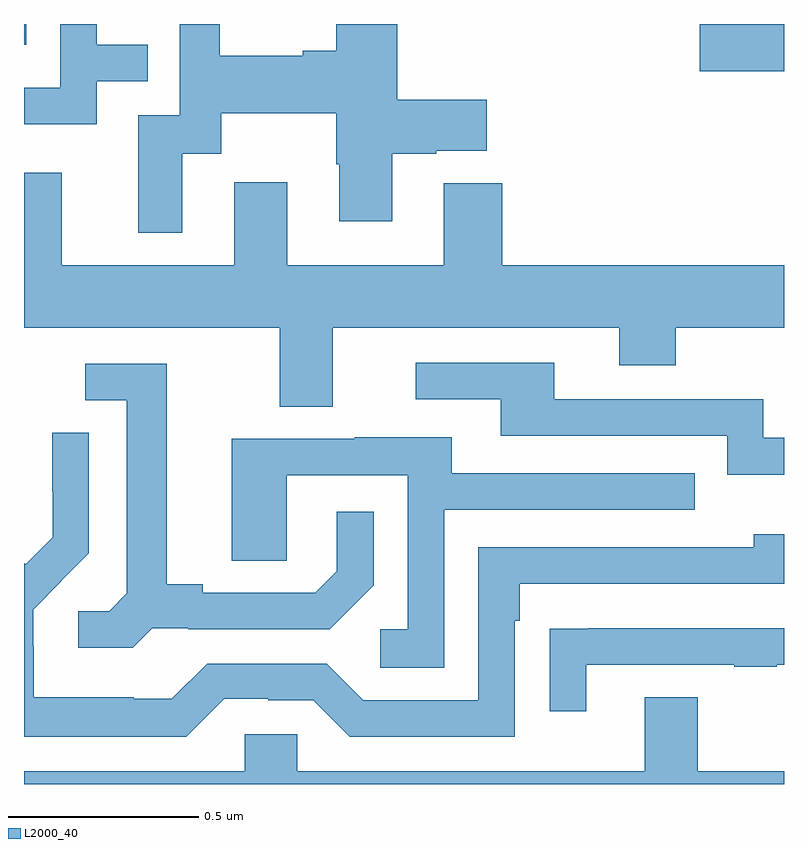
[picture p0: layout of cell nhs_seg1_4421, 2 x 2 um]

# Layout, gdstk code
import gdstk
lib = gdstk.Library(unit=1e-6, precision=1e-09)
def R(c, l, rs):  # rectangles x0, y0, x1, y1
    for r in rs: c.add(gdstk.rectangle(r[:2], r[2:], *l))
def P(c, l, *ps):  # polygons
    for p in ps: c.add(gdstk.Polygon(p, *l))
L2000_40 = (2000, 40)

nhs_seg1_4421 = lib.new_cell('nhs_seg1_4421')
R(nhs_seg1_4421, L2000_40, [(167.778,551.075,168,551.199), (166,551.144,166.006,551.199)])
P(nhs_seg1_4421, L2000_40, [(166.417,550.858),(166.519,550.858),(166.519,550.964),(166.822,550.964),(166.822,550.83),(166.829,550.83),(166.829,550.68),(166.969,550.68),(166.969,550.858),(167.085,550.858),(167.085,550.865),(167.218,550.865),(167.218,551),(166.982,551),(166.982,551.199),(166.822,551.199),(166.822,551.129),(166.733,551.129),(166.733,551.116),(166.515,551.116),(166.515,551.199),(166.41,551.199),(166.41,550.959),(166.301,550.959),(166.301,550.65),(166.417,550.65)],
  [(166.191,551.049),(166.325,551.049),(166.325,551.145),(166.191,551.145),(166.191,551.199),(166.095,551.199),(166.095,551.031),(166,551.031),(166,550.935),(166.191,550.935)],
  [(166.813,550.4),(167.567,550.4),(167.567,550.301),(167.715,550.301),(167.715,550.4),(168,550.4),(168,550.564),(167.258,550.564),(167.258,550.78),(167.105,550.78),(167.105,550.564),(166.693,550.564),(166.693,550.783),(166.553,550.783),(166.553,550.564),(166.099,550.564),(166.099,550.807),(166,550.807),(166,550.4),(166.673,550.4),(166.673,550.192),(166.813,550.192)],
  [(168,550.11),(167.946,550.11),(167.946,550.212),(167.395,550.212),(167.395,550.308),(167.031,550.308),(167.031,550.212),(167.255,550.212),(167.255,550.116),(167.85,550.116),(167.85,550.013),(168,550.013)],
  [(166.338,549.609),(166.432,549.609),(166.432,549.606),(166.804,549.606),(166.92,549.722),(166.92,549.916),(166.823,549.916),(166.823,549.759),(166.766,549.702),(166.471,549.702),(166.471,549.725),(166.375,549.725),(166.375,550.305),(166.161,550.305),(166.161,550.209),(166.271,550.209),(166.271,549.701),(166.224,549.654),(166.143,549.654),(166.143,549.557),(166.286,549.557)],
  [(166.527,549.423),(166.643,549.423),(166.643,549.42),(166.761,549.42),(166.857,549.324),(167.292,549.324),(167.292,549.629),(167.305,549.629),(167.305,549.726),(168,549.726),(168,549.856),(167.921,549.856),(167.921,549.822),(167.196,549.822),(167.196,549.42),(166.893,549.42),(166.797,549.516),(166.482,549.516),(166.389,549.423),(166.289,549.423),(166.289,549.427),(166.026,549.427),(166.026,549.561),(166.024,549.561),(166.024,549.658),(166.098,549.732),(166.097,549.733),(166.17,549.806),(166.17,550.124),(166.074,550.124),(166.074,549.97),(166.076,549.97),(166.076,549.848),(166.005,549.777),(166.002,549.78),(166,549.778),(166,549.323),(166.427,549.323)],
  [(167.106,549.921),(167.765,549.921),(167.765,550.017),(167.125,550.017),(167.125,550.111),(166.871,550.111),(166.871,550.107),(166.547,550.107),(166.547,549.787),(166.692,549.787),(166.692,550.011),(167.01,550.011),(167.01,549.606),(166.938,549.606),(166.938,549.505),(167.106,549.505)],
  [(167.479,549.513),(167.869,549.513),(167.869,549.508),(167.981,549.508),(167.981,549.513),(168,549.513),(168,549.609),(167.485,549.609),(167.485,549.608),(167.383,549.608),(167.383,549.39),(167.479,549.39)],
  [(168,549.232),(167.773,549.232),(167.773,549.427),(167.633,549.427),(167.633,549.232),(166.719,549.232),(166.719,549.33),(166.581,549.33),(166.581,549.232),(166,549.232),(166,549.199),(168,549.199)])

lib.write_gds('nhs_seg1_4421.gds')
